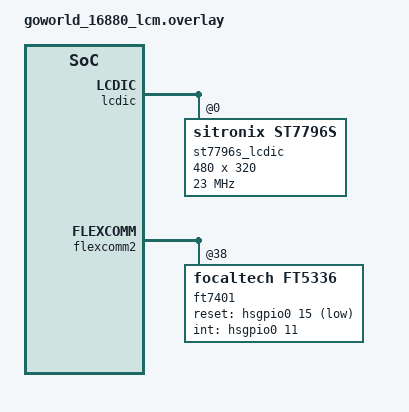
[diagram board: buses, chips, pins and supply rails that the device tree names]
#include <zephyr/dt-bindings/spi/spi.h>

/ {
	chosen {
		zephyr,display = &st7796s_lcdic;
	};

	lvgl_pointer {
		compatible = "zephyr,lvgl-pointer-input";
		input = <&ft7401>;
		swap-xy;
		invert-y;
	};
};

&lcdic {
	status = "okay";
	nxp,swap-bytes;
	/*
	 * Settings to connect this display:
	 * Populate the following resistors:
	 * - R125, R123, R12, R124, R15, R243, R239, R236, R233, R286, R246
	 * Remove the following resistors:
	 * - R9, R11, R20, R19, R242, R241, R237, R235, R245
	 * Remove JP30 to disconnect Flexcomm SPI CS
	 * Display can be connected to Arduino header (J5/J6)
	 * Pin #  | Signal | Header
	 * -------------------------------
	 * 1      | VDD    | J5.8 (+3.3V)
	 * 2      | RST    | J6.8 (LCD_SPI_RESETN)
	 * 3      | SDO    | J5.5 (SPI_MISO)
	 * 4      | CS     | J5.3 (LCD_SPI_SS)
	 * 5      | SCLK   | J5.6 (LCD_SPI_SCK)
	 * 6      | GND    | J5.7 (GND)
	 * 7      | MOSI   | J5.4 (LCD_SPI_SDIO)
	 * 8      | CD     | J5.1 (LCD_SPI_DC)
	 * 9      | TE     | J5.2 (LCD_SPI_TE, not enabled)
	 *
	 * Pins 10 and 11 correspond to the backlight anode and cathode,
	 * and must be driven by an external circuit
	 */
	st7796s_lcdic: st7796s@0 {
		compatible = "sitronix,st7796s";
		status = "okay";
		reg = <0>;
		mipi-max-frequency = <23000000>;
		duplex = <SPI_HALF_DUPLEX>;
		height = <320>;
		width = <480>;
		invert-mode = "1-dot";
		frmctl1 = [80 10];
		bpc = [1F 50 00 20];
		dfc = [8A 07 3B];
		pwr1 = [80 64];
		pwr2 = <0x13>;
		pwr3 = <0xA7>;
		vcmpctl = <0x09>;
		doca = [40 8A 00 00 29 19 A5 38];
		pgc = [F0 06 0B 07 06 05 2E 33 47 3A 17 16 2E 31];
		ngc = [F0 09 0D 09 08 23 2E 33 46 38 13 13 2C 32];
		madctl = <0x28>;
	};
};

&flexcomm2 {
	status = "okay";
	ft7401: ft7401@38 {
		/*
		 * Settings to connect this touch controller:
		 * Populate JP3 and JP50 to connect I2C
		 * Controller can be connected to Arduino Header (J8/J5)
		 * Pin #1 | Signal | Header
		 * -------------------------------
		 * 1      | VDD    | J8.2 (+3.3V)
		 * 2      | IOVDD  | J8.4 (+3.3V)
		 * 3      | SCL    | J5.10 (SCL)
		 * 4      | SDA    | J5.9 (SDA)
		 * 5      | INT    | J6.3 (D2)
		 * 6      | RST    | J6.4 (D3)
		 * 7      | GND    | J8.6 (GND)
		 * 8      | GND    | J8.7 (GND)
		 *
		 * Note- the actual controller present on this IC is a FT7401,
		 * but the FT5336 driver in Zephyr supports this IC.
		 */
		compatible = "focaltech,ft5336";
		reg = <0x38>;
		reset-gpios = <&hsgpio0 15 GPIO_ACTIVE_LOW>;
		int-gpios = <&hsgpio0 11 GPIO_ACTIVE_HIGH>;
	};
};
